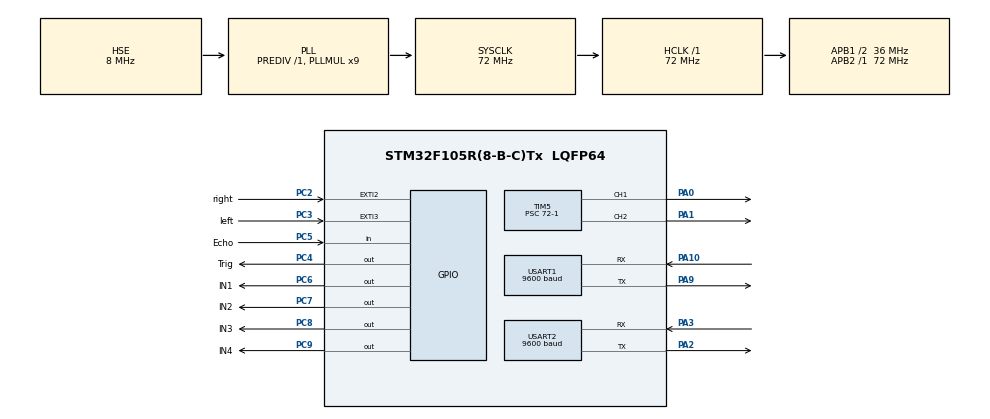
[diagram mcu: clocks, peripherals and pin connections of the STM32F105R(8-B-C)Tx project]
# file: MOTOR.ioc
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Mcu.Family=STM32F1
Mcu.Name=STM32F105R(8-B-C)Tx
Mcu.Package=LQFP64
NVIC.EXTI2_IRQn=true\:1\:2\:true\:false\:true\:true\:true
NVIC.EXTI3_IRQn=true\:1\:2\:true\:false\:true\:true\:true
NVIC.PriorityGroup=NVIC_PRIORITYGROUP_2
NVIC.USART1_IRQn=true\:1\:1\:true\:false\:true\:true\:true
NVIC.USART2_IRQn=true\:1\:1\:true\:false\:true\:true\:true
PA0-WKUP.Signal=S_TIM5_CH1
PA1.Signal=S_TIM5_CH2
PA10.Mode=Asynchronous
PA10.Signal=USART1_RX
PA13.Mode=Serial_Wire
PA13.Signal=SYS_JTMS-SWDIO
PA14.Mode=Serial_Wire
PA14.Signal=SYS_JTCK-SWCLK
PA2.Mode=Asynchronous
PA2.Signal=USART2_TX
PA3.Mode=Asynchronous
PA3.Signal=USART2_RX
PA9.Mode=Asynchronous
PA9.Signal=USART1_TX
PC2.GPIO_Label=right
PC2.GPIO_ModeDefaultEXTI=GPIO_MODE_IT_RISING
PC2.GPIO_PuPd=GPIO_NOPULL
PC2.Signal=GPXTI2
PC3.GPIO_Label=left
PC3.GPIO_ModeDefaultEXTI=GPIO_MODE_IT_RISING
PC3.Signal=GPXTI3
PC4.GPIO_Label=Trig
PC4.GPIO_PuPd=GPIO_PULLDOWN
PC4.GPIO_Speed=GPIO_SPEED_FREQ_HIGH
PC4.Signal=GPIO_Output
PC5.GPIO_Label=Echo
PC5.GPIO_PuPd=GPIO_NOPULL
PC5.Signal=GPIO_Input
PC6.GPIO_Label=IN1
PC6.GPIO_PuPd=GPIO_PULLDOWN
PC6.GPIO_Speed=GPIO_SPEED_FREQ_HIGH
PC6.Signal=GPIO_Output
PC7.GPIO_Label=IN2
PC7.GPIO_PuPd=GPIO_PULLDOWN
PC7.GPIO_Speed=GPIO_SPEED_FREQ_HIGH
PC7.Signal=GPIO_Output
PC8.GPIO_Label=IN3
PC8.GPIO_PuPd=GPIO_PULLDOWN
PC8.GPIO_Speed=GPIO_SPEED_FREQ_HIGH
PC8.Signal=GPIO_Output
PC9.GPIO_Label=IN4
PC9.GPIO_PuPd=GPIO_PULLDOWN
PC9.GPIO_Speed=GPIO_SPEED_FREQ_HIGH
PC9.Signal=GPIO_Output
PD0-OSC_IN.Mode=HSE-External-Oscillator
PD0-OSC_IN.Signal=RCC_OSC_IN
PD1-OSC_OUT.Mode=HSE-External-Oscillator
PD1-OSC_OUT.Signal=RCC_OSC_OUT
ProjectManager.HeapSize=0x200
ProjectManager.StackSize=0x400
ProjectManager.TargetToolchain=MDK-ARM V5.27
RCC.AHBFreq_Value=72000000
RCC.APB1CLKDivider=RCC_HCLK_DIV2
RCC.APB1Freq_Value=36000000
RCC.APB1TimFreq_Value=72000000
RCC.APB2Freq_Value=72000000
RCC.APB2TimFreq_Value=72000000
RCC.HCLKFreq_Value=72000000
RCC.PLLMUL=RCC_PLL_MUL9
RCC.PLLSourceVirtual=RCC_PLLSOURCE_HSE
RCC.SYSCLKFreq_VALUE=72000000
RCC.SYSCLKSource=RCC_SYSCLKSOURCE_PLLCLK
RCC.USBFreq_Value=48000000
SH.S_TIM5_CH1.0=TIM5_CH1,PWM Generation1 CH1
SH.S_TIM5_CH2.0=TIM5_CH2,PWM Generation2 CH2
TIM2.AutoReloadPreload=TIM_AUTORELOAD_PRELOAD_ENABLE
TIM2.Prescaler=72-1
TIM5.AutoReloadPreload=TIM_AUTORELOAD_PRELOAD_ENABLE
TIM5.Channel-PWM\ Generation1\ CH1=TIM_CHANNEL_1
TIM5.Channel-PWM\ Generation2\ CH2=TIM_CHANNEL_2
TIM5.Period=1000
TIM5.Prescaler=72-1
USART1.BaudRate=9600
USART1.VirtualMode=VM_ASYNC
USART2.BaudRate=9600
USART2.VirtualMode=VM_ASYNC
VP_TIM2_VS_ClockSourceINT.Mode=Internal
VP_TIM5_VS_ClockSourceINT.Mode=Internal
board=custom

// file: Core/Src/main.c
/* USER CODE BEGIN Header */
/**
  ******************************************************************************
  * @file           : main.c
  * @brief          : Main program body
  ******************************************************************************
  * @attention
  *
  * <h2><center>&copy; Copyright (c) 2023 STMicroelectronics.
  * All rights reserved.</center></h2>
  *
  * This software component is licensed by ST under BSD 3-Clause license,
  * the "License"; You may not use this file except in compliance with the
  * License. You may obtain a copy of the License at:
  *                        opensource.org/licenses/BSD-3-Clause
  *
  ******************************************************************************
  */
/* USER CODE END Header */
#include "main.h"
#include "tim.h"
#include "usart.h"
#include "gpio.h"

/* USER CODE BEGIN Includes */
#include "stdio.h"
#include "string.h"

/* USER CODE END Includes */

void SystemClock_Config(void);

/* USER CODE BEGIN 0 */
//一侧电机转动

unsigned char rx_Data;		//#define(宏替换)   u8    unsigned char   <====>   typedef（取别名） unsigned char      u8
char rx_str[256];
char rx_num = 0;	//接收数据的字节数
char clock = 0;
char s = 1;

char xunji = 0;
char distance = 0;
char ting = 0;
char zhuan = 0;
char avoid = 0;
char hui = 0;

int csb_value;  	//定义变量存放超声波数据

//111
void left1()
{
	  __HAL_TIM_SetCompare(&htim5, TIM_CHANNEL_1, 800);
	  __HAL_TIM_SetCompare(&htim5, TIM_CHANNEL_2, 800);
	  HAL_GPIO_WritePin(GPIOC, IN1_Pin|IN4_Pin, GPIO_PIN_RESET);
	  HAL_GPIO_WritePin(GPIOC, IN2_Pin|IN3_Pin, GPIO_PIN_SET);
}

void right1()
{
	  __HAL_TIM_SetCompare(&htim5, TIM_CHANNEL_1, 800);
	  __HAL_TIM_SetCompare(&htim5, TIM_CHANNEL_2, 800);
	  HAL_GPIO_WritePin(GPIOC, IN2_Pin|IN3_Pin, GPIO_PIN_RESET);
	  HAL_GPIO_WritePin(GPIOC, IN1_Pin|IN4_Pin, GPIO_PIN_SET);
}

void straight1()
{
	  __HAL_TIM_SetCompare(&htim5, TIM_CHANNEL_1, 800);
	  __HAL_TIM_SetCompare(&htim5, TIM_CHANNEL_2, 800);
	  HAL_GPIO_WritePin(GPIOC, IN1_Pin|IN3_Pin, GPIO_PIN_SET);
	  HAL_GPIO_WritePin(GPIOC, IN2_Pin|IN4_Pin, GPIO_PIN_RESET);
}

void back1()
{
	  __HAL_TIM_SetCompare(&htim5, TIM_CHANNEL_1, 800);
	  __HAL_TIM_SetCompare(&htim5, TIM_CHANNEL_2, 800);
	  HAL_GPIO_WritePin(GPIOC, IN1_Pin|IN3_Pin, GPIO_PIN_RESET);
	  HAL_GPIO_WritePin(GPIOC, IN2_Pin|IN4_Pin, GPIO_PIN_SET);
}

void stop1()
{
	  __HAL_TIM_SetCompare(&htim5, TIM_CHANNEL_1, 800);
	  __HAL_TIM_SetCompare(&htim5, TIM_CHANNEL_2, 800);
	  HAL_GPIO_WritePin(GPIOC, IN1_Pin|IN3_Pin, GPIO_PIN_RESET);
	  HAL_GPIO_WritePin(GPIOC, IN2_Pin|IN4_Pin, GPIO_PIN_RESET);
}

//222
void left2()
{
	  __HAL_TIM_SetCompare(&htim5, TIM_CHANNEL_1, 650);
	  __HAL_TIM_SetCompare(&htim5, TIM_CHANNEL_2, 650);
	  HAL_GPIO_WritePin(GPIOC, IN1_Pin|IN4_Pin, GPIO_PIN_RESET);
	  HAL_GPIO_WritePin(GPIOC, IN2_Pin|IN3_Pin, GPIO_PIN_SET);
}

void right2()
{
	  __HAL_TIM_SetCompare(&htim5, TIM_CHANNEL_1, 650);
	  __HAL_TIM_SetCompare(&htim5, TIM_CHANNEL_2, 650);
	  HAL_GPIO_WritePin(GPIOC, IN2_Pin|IN3_Pin, GPIO_PIN_RESET);
	  HAL_GPIO_WritePin(GPIOC, IN1_Pin|IN4_Pin, GPIO_PIN_SET);
}

void straight2()
{
	  __HAL_TIM_SetCompare(&htim5, TIM_CHANNEL_1, 650);
	  __HAL_TIM_SetCompare(&htim5, TIM_CHANNEL_2, 650);
	  HAL_GPIO_WritePin(GPIOC, IN1_Pin|IN3_Pin, GPIO_PIN_SET);
	  HAL_GPIO_WritePin(GPIOC, IN2_Pin|IN4_Pin, GPIO_PIN_RESET);
}

void back2()
{
	  __HAL_TIM_SetCompare(&htim5, TIM_CHANNEL_1, 650);
	  __HAL_TIM_SetCompare(&htim5, TIM_CHANNEL_2, 650);
	  HAL_GPIO_WritePin(GPIOC, IN1_Pin|IN3_Pin, GPIO_PIN_RESET);
	  HAL_GPIO_WritePin(GPIOC, IN2_Pin|IN4_Pin, GPIO_PIN_SET);
}

void stop2()
{
	  __HAL_TIM_SetCompare(&htim5, TIM_CHANNEL_1, 650);
	  __HAL_TIM_SetCompare(&htim5, TIM_CHANNEL_2, 650);
	  HAL_GPIO_WritePin(GPIOC, IN1_Pin|IN3_Pin, GPIO_PIN_RESET);
	  HAL_GPIO_WritePin(GPIOC, IN2_Pin|IN4_Pin, GPIO_PIN_RESET);
}

//333
void left3()
{
	  __HAL_TIM_SetCompare(&htim5, TIM_CHANNEL_1, 500);
	  __HAL_TIM_SetCompare(&htim5, TIM_CHANNEL_2, 500);
	  HAL_GPIO_WritePin(GPIOC, IN1_Pin|IN4_Pin, GPIO_PIN_RESET);
	  HAL_GPIO_WritePin(GPIOC, IN2_Pin|IN3_Pin, GPIO_PIN_SET);
}

void right3()
{
	  __HAL_TIM_SetCompare(&htim5, TIM_CHANNEL_1, 500);
	  __HAL_TIM_SetCompare(&htim5, TIM_CHANNEL_2, 500);
	  HAL_GPIO_WritePin(GPIOC, IN2_Pin|IN3_Pin, GPIO_PIN_RESET);
	  HAL_GPIO_WritePin(GPIOC, IN1_Pin|IN4_Pin, GPIO_PIN_SET);
}

void straight3()
{
	  __HAL_TIM_SetCompare(&htim5, TIM_CHANNEL_1, 500);
	  __HAL_TIM_SetCompare(&htim5, TIM_CHANNEL_2, 500);
	  HAL_GPIO_WritePin(GPIOC, IN1_Pin|IN3_Pin, GPIO_PIN_SET);
	  HAL_GPIO_WritePin(GPIOC, IN2_Pin|IN4_Pin, GPIO_PIN_RESET);
}

void back3()
{
	  __HAL_TIM_SetCompare(&htim5, TIM_CHANNEL_1, 500);
	  __HAL_TIM_SetCompare(&htim5, TIM_CHANNEL_2, 500);
	  HAL_GPIO_WritePin(GPIOC, IN1_Pin|IN3_Pin, GPIO_PIN_RESET);
	  HAL_GPIO_WritePin(GPIOC, IN2_Pin|IN4_Pin, GPIO_PIN_SET);
}

void stop3()
{
	  __HAL_TIM_SetCompare(&htim5, TIM_CHANNEL_1, 500);
	  __HAL_TIM_SetCompare(&htim5, TIM_CHANNEL_2, 500);
	  HAL_GPIO_WritePin(GPIOC, IN1_Pin|IN3_Pin, GPIO_PIN_RESET);
	  HAL_GPIO_WritePin(GPIOC, IN2_Pin|IN4_Pin, GPIO_PIN_RESET);
}

// 重定向printf函数
int fputc(int ch,FILE *f)
{
    uint8_t temp[1]={ch};
    HAL_UART_Transmit(&huart1,temp,1,2);
	return 0;
}

//串口中断服务函数对应的回调函数，即真正做事情的服务员，需要在该函数里交代清楚任务即可。
void HAL_UART_RxCpltCallback(UART_HandleTypeDef *huart)
{

	if(huart->Instance == USART1)//判断是由哪个串口触发的中断
	{
		//接收一个字节数据后存在数组里，且下标+1
		rx_str[rx_num++] = rx_Data;

	}

	//通过数据最后的结束标志符，判断数据是否接收完整

	if( rx_str[rx_num-1] == '#')
	{
		if(strstr( rx_str, "1234#")  != NULL)
		{
			clock = 1;
		}

		if(strstr( rx_str, "s#")  != NULL)
		{
			s++;
			if(s>3)
			{
				s = 1;
			}
		}

		if(clock == 1)
		{

			if(strstr( rx_str, "xunji#")  != NULL)
			{
				xunji = 1;
				//清空数组
				memset(rx_str, 0, sizeof(rx_str));
				rx_num = 0;
			}

			if(strstr( rx_str, "distance#")  != NULL)
			{
				distance = 1;
				//清空数组
				memset(rx_str, 0, sizeof(rx_str));
				rx_num = 0;
			}

			if(strstr( rx_str, "ting#")  != NULL)
			{
				ting = 1;
				//清空数组
				memset(rx_str, 0, sizeof(rx_str));
				rx_num = 0;
			}

			if(strstr( rx_str, "zhuan#")  != NULL)
			{
				zhuan = 1;
				//清空数组
				memset(rx_str, 0, sizeof(rx_str));
				rx_num = 0;
			}

			if(strstr( rx_str, "avoid#")  != NULL)
			{
				avoid = 1;
				//清空数组
				memset(rx_str, 0, sizeof(rx_str));
				rx_num = 0;
			}

			if(strstr( rx_str, "hui#")  != NULL)
			{
				hui = 1;
				//清空数组
				memset(rx_str, 0, sizeof(rx_str));
				rx_num = 0;
			}

			if(s == 1)
			{
				if( strstr( rx_str, "straight#")  != NULL )
				{
					//驱动电机
					straight1();
				}

				if( strstr( rx_str, "back#")  != NULL )
				{
					//驱动电机
					back1();
				}

				if( strstr( rx_str, "left#")  != NULL )
				{
					//驱动电机
					left1();
				}

				if( strstr( rx_str, "right#")  != NULL )
				{
					//驱动电机
					right1();
				}

				if( strstr( rx_str, "stop#")  != NULL )
				{
					//驱动电机
					stop1();
				}

				//清空数组
				memset(rx_str, 0, sizeof(rx_str));
				rx_num = 0;
			}

			if(s == 2)
			{
				if( strstr( rx_str, "straight#")  != NULL )
				{
					//驱动电机
					straight2();
				}

				if( strstr( rx_str, "back#")  != NULL )
				{
					//驱动电机
					back2();
				}

				if( strstr( rx_str, "left#")  != NULL )
				{
					//驱动电机
					left2();
				}

				if( strstr( rx_str, "right#")  != NULL )
				{
					//驱动电机
					right2();
				}

				if( strstr( rx_str, "stop#")  != NULL )
				{
					//驱动电机
					stop2();
				}

				//清空数组
				memset(rx_str, 0, sizeof(rx_str));
				rx_num = 0;
			}

			if(s == 3)
			{
				if( strstr( rx_str, "straight#")  != NULL )
				{
					//驱动电机
					straight3();
				}

				if( strstr( rx_str, "back#")  != NULL )
				{
					//驱动电机
					back3();
				}

				if( strstr( rx_str, "left#")  != NULL )
				{
					//驱动电机
					left3();
				}

				if( strstr( rx_str, "right#")  != NULL )
				{
					//驱动电机
					right3();
				}

				if( strstr( rx_str, "stop#")  != NULL )
				{
					//驱动电机
					stop3();
				}

				//清空数组
				memset(rx_str, 0, sizeof(rx_str));
				rx_num = 0;
			}
		}

		//清空数组
		memset(rx_str, 0, sizeof(rx_str));
		rx_num = 0;

	}

//串口1的处理：
	//把接收的数据重新反馈给到发送者   0xff为超时时间
	HAL_UART_Transmit(&huart1, &rx_Data, 1, 0x0f);

	//重新使能串口1接收中断
	HAL_UART_Receive_IT(&huart1, &rx_Data, 1);

}

//定时器计时函数（延时函数）
void TIM_Delayus(int times)
{
	//设定定时器的初始值为0
	__HAL_TIM_SET_COUNTER(&htim2, 0);

	//开启定时器计数
	__HAL_TIM_ENABLE(&htim2);

	//等待计数完成
	while( __HAL_TIM_GET_COUNTER(&htim2) < ( 1 * times) );

	//结束定时器计数
	__HAL_TIM_DISABLE(&htim2);
}

//获取超声波距离
int csb_get_distance(void)
{
	//定义变量存放数据
	int value = 0;

	//设定定时器的初始值为0
	__HAL_TIM_SET_COUNTER(&htim2, 0);

	//芯片PC4---Trig输出一个高电平
	HAL_GPIO_WritePin(GPIOC, Trig_Pin, GPIO_PIN_SET);

	//输出10us以上，延时10us
	TIM_Delayus(15);

	//芯片PC4---Trig输出一个低电平
	HAL_GPIO_WritePin(GPIOC, Trig_Pin, GPIO_PIN_RESET);

	//不断地判断芯片的PC5---Echo引脚是否被输入了一个高电平，即由原本的低电平变成高电平;
	while( 0 == HAL_GPIO_ReadPin(GPIOC, Echo_Pin) );

	//如果PC5---Echo引脚变成了高电平，开启定时器计时/计数
	__HAL_TIM_ENABLE(&htim2);

	//不断地判断芯片的PC5---Echo引脚是否重新变成低电平
	while( 1 == HAL_GPIO_ReadPin(GPIOC, Echo_Pin) );

	//结束定时器的计数
	__HAL_TIM_DISABLE(&htim2);

	//获取定时器的计数值：定时器在配置时，设置分频为72，因为系统给到定时器工作频率为72MHz，	   \
	且设定分频为72，所以定时器的实际工作频率为：72M/72 = 1MHz，因为公式：T = 1/f， T = 1/1M，   \
	所以得到定时器的周期为 1 us ，即定时器计数一次（频率）需要1us时间（周期） \
	障碍物距离 = 时间 * 速度； 即：测试距离=(高电平时间*声速(340M/S))/2;
	value = __HAL_TIM_GET_COUNTER(&htim2);

	//打印 通过计数值和公式计算障碍物 的距离 1000us == 1ms == 0.001s
	printf("csb_get_distance == %dmm\r\n", value*340/1000/2 );

	//返回障碍物距离
	return value*340/1000/2;
}

/*
//用户编写的回调函数（用于处理循迹模块的电机控制）
void HAL_GPIO_EXTI_Callback(uint16_t GPIO_Pin)
{
	//if( EXTI->PR == right_Pin )
	if(GPIO_Pin == left_Pin)//是由哪个外部中断触发的
	{
		//电机往右前进
		right1();

	}

	if(GPIO_Pin == right_Pin)
	{
		//电机往左前进
		left1();

	}
}
*/

void bizhang()
{
	while(1)
	{
		csb_value = csb_get_distance();
		printf("csb_value == %dmm\r\n", csb_value);

		straight3();

		if(csb_value/10 > 15 && csb_value/10 < 25)
		{
			right3();
			HAL_Delay(1000);

		}

		if(hui == 1)
		{
			stop3();
			avoid = 0;
			hui = 0;
			break;
		}
	}
}

void zouxian()
{
	while(1)
	{
		straight1();

		if(HAL_GPIO_ReadPin(GPIOC,right_Pin)|| HAL_GPIO_ReadPin(GPIOC,right_Pin) == 0)
		{
			straight1();
		}

		if(rx_str[rx_num-1] == '#')
		{

			if(strstr( rx_str, "break#")  != NULL)
			{
				break;
			}

			//清空数组
			memset(rx_str, 0, sizeof(rx_str));
			rx_num = 0;
		}
	}

}

void ceju()
{
	while(1)
	{
	  csb_value = csb_get_distance();
	  printf("csb_value == %dmm\r\n", csb_value);

	  if(csb_value/10 > 15)
	  {
		  straight1();
	  }
	  else if(csb_value/10 < 10)
	  {
		  back1();
	  }
	  else
	  {
		  stop1();
	  }

	  if(hui == 1)
	  {
		  distance = 0;
		  hui = 0;
		  break;
	  }

	}

}

void diaotou()
{
	right3();
	HAL_Delay(1500);
	zhuan = 0;
	stop3();

}

void tingche()
{
	while(1)
	{
		csb_value = csb_get_distance();
		printf("csb_value == %dmm\r\n", csb_value);

		straight3();

		if(csb_value/10 > 7 && csb_value/10 < 15)
		{
			stop1();

			ting = 0;
			break;

		}
	}
}

/* USER CODE END 0 */

int main(void)
{

  /* MCU Configuration--------------------------------------------------------*/

  /* Reset of all peripherals, Initializes the Flash interface and the Systick. */
  HAL_Init();

  /* Configure the system clock */
  SystemClock_Config();

  /* Initialize all configured peripherals */
  MX_GPIO_Init();
  MX_TIM5_Init();
  MX_USART2_UART_Init();
  MX_USART1_UART_Init();
  MX_TIM2_Init();
  /* USER CODE BEGIN 2 */
  //开启串口2的中断，设置接收的数据存放在rx_Data变量空间了（只是参数空间地址，即指针），接收数据大小为1字节，即8bit
  //UART_Start_Receive_IT(&huart2, &rx_Data, 1);
  HAL_UART_Receive_IT(&huart2, &rx_Data, 1);
  HAL_UART_Receive_IT(&huart1, &rx_Data, 1);

  //开启PWM
  HAL_TIM_PWM_Start(&htim5, TIM_CHANNEL_1);
  HAL_TIM_PWM_Start(&htim5, TIM_CHANNEL_2);

  //开启定时器		   TIM_HandleTypeDef htim5;
  HAL_TIM_Base_Start(&htim5);
  HAL_TIM_Base_Start(&htim2);

  //开机提示，验证串口通信是OK
  printf("所有资源都已经配置好了\r\n");

  stop1();

  /* USER CODE END 2 */

  /* Infinite loop */
  /* USER CODE BEGIN WHILE */

  while (1)
  {
	  if(zhuan == 1)
	  {
		  diaotou();
	  }

	  if(ting == 1)
	  {
		  tingche();
	  }

	  if(distance == 1)
	  {
		  ceju();
	  }

	  if(avoid == 1)
	  {
		  bizhang();
	  }
  }
    /* USER CODE END WHILE */

}

void SystemClock_Config(void)
{
  RCC_OscInitTypeDef RCC_OscInitStruct = {0};
  RCC_ClkInitTypeDef RCC_ClkInitStruct = {0};

  /** Initializes the RCC Oscillators according to the specified parameters
  * in the RCC_OscInitTypeDef structure.
  */
  RCC_OscInitStruct.OscillatorType = RCC_OSCILLATORTYPE_HSE;
  RCC_OscInitStruct.HSEState = RCC_HSE_ON;
  RCC_OscInitStruct.HSEPredivValue = RCC_HSE_PREDIV_DIV1;
  RCC_OscInitStruct.HSIState = RCC_HSI_ON;
  RCC_OscInitStruct.Prediv1Source = RCC_PREDIV1_SOURCE_HSE;
  RCC_OscInitStruct.PLL.PLLState = RCC_PLL_ON;
  RCC_OscInitStruct.PLL.PLLSource = RCC_PLLSOURCE_HSE;
  RCC_OscInitStruct.PLL.PLLMUL = RCC_PLL_MUL9;
  RCC_OscInitStruct.PLL2.PLL2State = RCC_PLL_NONE;
  if (HAL_RCC_OscConfig(&RCC_OscInitStruct) != HAL_OK)
  {
    Error_Handler();
  }
  /** Initializes the CPU, AHB and APB buses clocks
  */
  RCC_ClkInitStruct.ClockType = RCC_CLOCKTYPE_HCLK|RCC_CLOCKTYPE_SYSCLK
                              |RCC_CLOCKTYPE_PCLK1|RCC_CLOCKTYPE_PCLK2;
  RCC_ClkInitStruct.SYSCLKSource = RCC_SYSCLKSOURCE_PLLCLK;
  RCC_ClkInitStruct.AHBCLKDivider = RCC_SYSCLK_DIV1;
  RCC_ClkInitStruct.APB1CLKDivider = RCC_HCLK_DIV2;
  RCC_ClkInitStruct.APB2CLKDivider = RCC_HCLK_DIV1;

  if (HAL_RCC_ClockConfig(&RCC_ClkInitStruct, FLASH_LATENCY_2) != HAL_OK)
  {
    Error_Handler();
  }
  /** Configure the Systick interrupt time
  */
  __HAL_RCC_PLLI2S_ENABLE();
}

void Error_Handler(void)
{
  __disable_irq();
  while (1)
  {
  }
}

/************************ (C) COPYRIGHT STMicroelectronics *****END OF FILE****/
